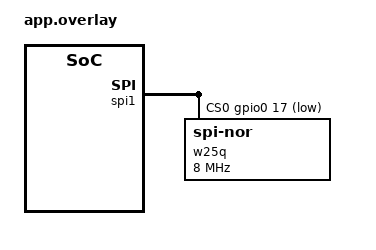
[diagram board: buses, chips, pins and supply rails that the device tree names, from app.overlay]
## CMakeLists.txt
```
cmake_minimum_required(VERSION 3.13.1)
find_package(Zephyr REQUIRED HINTS $ENV{ZEPHYR_BASE})
project(2026-06-03_SPI_Communication)

target_sources(app PRIVATE src/main.c)
```

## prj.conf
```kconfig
CONFIG_SPI=y
CONFIG_FLASH=y
CONFIG_FLASH_MAP=y
CONFIG_FLASH_JESD216=y
CONFIG_SPI_NOR=y
CONFIG_LOG=y
CONFIG_LOG_DEFAULT_LEVEL=3
CONFIG_COMMON_LIBC_MALLOC_ARENA_SIZE=0
```

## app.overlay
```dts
/*
 * W25Q SPI NOR flash wired to SPI1:
 *   MOSI -> P0.20
 *   MISO -> P0.21
 *   SCK  -> P0.19
 *   CS   -> P0.17
 * Update pins to match your schematic.
 */
&spi1 {
	status = "okay";
	cs-gpios = <&gpio0 17 GPIO_ACTIVE_LOW>;

	w25q: w25q@0 {
		compatible = "jedec,spi-nor";
		reg = <0>;
		spi-max-frequency = <8000000>;
		size = <DT_SIZE_M(1)>;
		jedec-id = [ef 40 15];
		has-dpd;
		t-enter-dpd = <3000>;
		t-exit-dpd = <30000>;
	};
};
```

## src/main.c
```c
#include <zephyr/kernel.h>
#include <zephyr/drivers/flash.h>
#include <zephyr/logging/log.h>
#include <string.h>

LOG_MODULE_REGISTER(day19, LOG_LEVEL_INF);

#define FLASH_NODE   DT_NODELABEL(w25q)
#define TEST_ADDR    0x000000
#define SECTOR_SIZE  4096
#define PAGE_SIZE    256

static const struct device *flash_dev = DEVICE_DT_GET(FLASH_NODE);

int main(void)
{
    if (!device_is_ready(flash_dev)) {
        LOG_ERR("Day 19: SPI flash not ready — check wiring");
        return;
    }
    LOG_INF("Day 19: SPI flash ready");

    /* Erase first sector */
    LOG_INF("Erasing sector at 0x%06X...", TEST_ADDR);
    int rc = flash_erase(flash_dev, TEST_ADDR, SECTOR_SIZE);
    if (rc) {
        LOG_ERR("Erase failed: %d", rc);
        return;
    }

    /* Write a test string */
    const char msg[] = "Hello from Zephyr SPI!";
    LOG_INF("Writing: \"%s\"", msg);
    rc = flash_write(flash_dev, TEST_ADDR, msg, strlen(msg));
    if (rc) {
        LOG_ERR("Write failed: %d", rc);
        return;
    }

    /* Read back and verify */
    char read_buf[64] = { 0 };
    rc = flash_read(flash_dev, TEST_ADDR, read_buf, strlen(msg));
    if (rc) {
        LOG_ERR("Read failed: %d", rc);
        return;
    }

    LOG_INF("Read back: \"%s\"", read_buf);

    if (memcmp(msg, read_buf, strlen(msg)) == 0) {
        LOG_INF("Verification PASSED");
    } else {
        LOG_ERR("Verification FAILED");
    }
    return 0;
}
```
